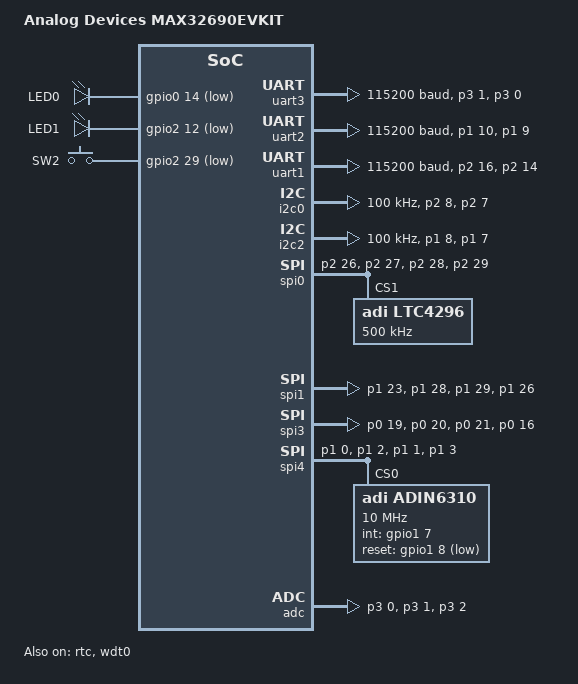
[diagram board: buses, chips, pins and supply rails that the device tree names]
/*
 * Copyright (c) 2023 Analog Devices, Inc.
 *
 * SPDX-License-Identifier: Apache-2.0
 */

/dts-v1/;

#include <adi/max32/max32690.dtsi>
#include <adi/max32/max32690-pinctrl.dtsi>
#include <zephyr/dt-bindings/gpio/adi-max32-gpio.h>

/ {
	model = "Analog Devices MAX32690EVKIT";
	compatible = "adi,max32690evkit";

	chosen {
		zephyr,console = &uart3;
		zephyr,shell-uart = &uart3;
		zephyr,sram = &sram0;
		zephyr,flash = &flash0;
	};

	leds {
		compatible = "gpio-leds";
		red_led: led_0 {
			gpios = <&gpio0 14 GPIO_ACTIVE_LOW>;
			label = "LED0";
		};
		green_led: led_1 {
			gpios = <&gpio2 12 GPIO_ACTIVE_LOW>;
			label = "LED1";
		};
	};

	buttons {
		compatible = "gpio-keys";
		pb0: pb0 {
			/* SW2 on EVKIT connects to GPIO4 which does not support interrupts,
			 * so advised to fit jumper on JH5 to connect SW2 (P4.0) to P2.29
			 */
			gpios = <&gpio2 29 (GPIO_PULL_UP | GPIO_ACTIVE_LOW)>;
			label = "SW2";
		};
	};

	aliases {
		led0 = &red_led;
		led1 = &green_led;
		sw0 = &pb0;
		rtc = &rtc;
		watchdog0 = &wdt0;
	 };
};

&clk_ipo {
	status = "okay";
};

/*
 * ERTCO requires for RTC
 */
&clk_ertco {
	status = "okay";
};

&gpio0 {
	status = "okay";
};

&gpio1 {
	status = "okay";
};

&gpio2 {
	status = "okay";
};

&gpio3 {
	status = "okay";
};

&uart3 {
	pinctrl-0 = <&lpuart0b_tx_p3_1 &lpuart0b_rx_p3_0>;
	pinctrl-names = "default";
	current-speed = <115200>;
	data-bits = <8>;
	parity = "none";
	status = "okay";
};

&uart2 {
	pinctrl-0 = <&uart2a_tx_p1_10 &uart2a_rx_p1_9>;
	pinctrl-names = "default";
	current-speed = <115200>;
	data-bits = <8>;
	parity = "none";
	status = "okay";
};

&uart1 {
	pinctrl-0 = <&uart1a_tx_p2_16 &uart1a_rx_p2_14>;
	pinctrl-names = "default";
	current-speed = <115200>;
	data-bits = <8>;
	parity = "none";
	status = "okay";
};

&i2c0 {
	pinctrl-0 = <&i2c0a_scl_p2_8 &i2c0a_sda_p2_7>;
	pinctrl-names = "default";
	clock-frequency = <I2C_BITRATE_STANDARD>;
	status = "okay";
};

&i2c2 {
	pinctrl-0 = <&i2c2c_scl_p1_8 &i2c2c_sda_p1_7>;
	pinctrl-names = "default";
	clock-frequency = <I2C_BITRATE_STANDARD>;
	status = "okay";
};

&spi0b_ss1_p2_26 {
	power-source = <MAX32_VSEL_VDDIOH>;
};
&spi0b_miso_p2_27 {
	power-source = <MAX32_VSEL_VDDIOH>;
};
&spi0b_mosi_p2_28 {
	power-source = <MAX32_VSEL_VDDIOH>;
};
&spi0b_ss1_p2_26 {
	power-source = <MAX32_VSEL_VDDIOH>;
};
&spi0b_sck_p2_29 {
	power-source = <MAX32_VSEL_VDDIOH>;
};

&spi4a_ss0_p1_0 {
	power-source = <MAX32_VSEL_VDDIO>;
};

&spi4a_mosi_p1_1 {
	power-source = <MAX32_VSEL_VDDIO>;
};

&spi4a_miso_p1_2 {
	power-source = <MAX32_VSEL_VDDIO>;
};

&spi4a_sck_p1_3 {
	power-source = <MAX32_VSEL_VDDIO>;
};

&spi4a_sdio2_p1_4 {
	power-source = <MAX32_VSEL_VDDIO>;
};

&spi4a_sdio3_p1_5 {
	power-source = <MAX32_VSEL_VDDIO>;
};

&spi0 {
	// pinctrl-0 = <&spi0b_ss1_p2_26 &spi0b_miso_p2_27
	// 			&spi0b_mosi_p2_28 &spi0b_sck_p2_29>;
	// pinctrl-names = "default";
	// status = "okay";
	// adin1110: adin1110@1 {
	// 	compatible = "adi,adin1110";
	// 	reg = <0x1>;
	// 	spi-max-frequency = <2000000>;
	// 	int-gpios   = <&gpio0 8 (GPIO_PULL_UP | GPIO_ACTIVE_LOW | MAX32_GPIO_VSEL_VDDIOH)>;
	// 	reset-gpios = <&gpio0 9 (GPIO_ACTIVE_LOW | MAX32_GPIO_VSEL_VDDIOH)>;
	// 	port1 {
	// 		local-mac-address = [ CA 2F B7 10 23 63 ];
	// 	};
	// 	mdio: mdio {
	// 		compatible = "adi,adin2111-mdio";
	// 		status = "okay";
	// 		#address-cells = <1>;
	// 		#size-cells = <0>;
	// 		ethernet-phy@1 {
	// 			reg = <0x1>;
	// 			compatible = "adi,adin2111-phy";
	// 		};
	// 	};
	// };
	pinctrl-0 = <&spi0b_ss1_p2_26 &spi0b_miso_p2_27
			&spi0b_mosi_p2_28 &spi0b_sck_p2_29>;
	pinctrl-names = "default";
	status = "okay";
	ltc4296: ltc4296@1 {
		compatible = "adi,ltc4296";
		spi-max-frequency = <500000>;
		reg = <0x1>;
	};
};

&spi1 {
	pinctrl-0 = <&spi1a_ss0_p1_23 &spi1a_miso_p1_28
				&spi1a_mosi_p1_29 &spi1a_sck_p1_26>;
};

&spi3 {
	pinctrl-0 = <&spi3a_ss0_p0_19 &spi3a_miso_p0_20
				&spi3a_mosi_p0_21 &spi3a_sck_p0_16>;
};

&spi4 {
	pinctrl-0 = <&spi4a_ss0_p1_0 &spi4a_miso_p1_2
		     &spi4a_mosi_p1_1 &spi4a_sck_p1_3>;

	pinctrl-names = "default";
	status = "okay";

	adin6310: adin6310@0 {
		compatible = "adi,adin6310";
		reg = <0x0>;
		spi-max-frequency = <10000000>;
		int-gpios = <&gpio1 7 (GPIO_ACTIVE_HIGH | MAX32_GPIO_VSEL_VDDIO)>;
		reset-gpios = <&gpio1 8 (GPIO_ACTIVE_LOW | MAX32_GPIO_VSEL_VDDIO)>;

		port0 {
			local-mac-address = [ 00 18 80 03 25 60 ];
		};
		port1 {
			local-mac-address = [ 00 18 80 03 25 61 ];
		};
		port2 {
			ethernet-port;
			local-mac-address = [ 00 18 80 03 25 62 ];
		};
		port3 {
			local-mac-address = [ 00 18 80 03 25 63 ];
		};
		port4 {
			local-mac-address = [ 00 18 80 03 25 64 ];
		};
		port5 {
			local-mac-address = [ 00 18 80 03 25 65 ];
		};
	};

	// spidev: spi-device@0 {
	// 	compatible = "vnd,spi-device";
	// 	spi-max-frequency = <10000000>;
	// 	reg = <0x0>;
	// };
};

&dma0 {
	status = "okay";
};

&rtc {
	status = "okay";
	alarms-count = <1>;
};

&wdt0 {
	status = "okay";
};

&trng {
	status = "disabled";
};

&adc {
	status = "okay";
	pinctrl-0 = <&ain0_p3_0 &ain1_p3_1 &ain2_p3_2>;
	pinctrl-names = "default";
	#address-cells = <1>;
	#size-cells = <0>;
};
